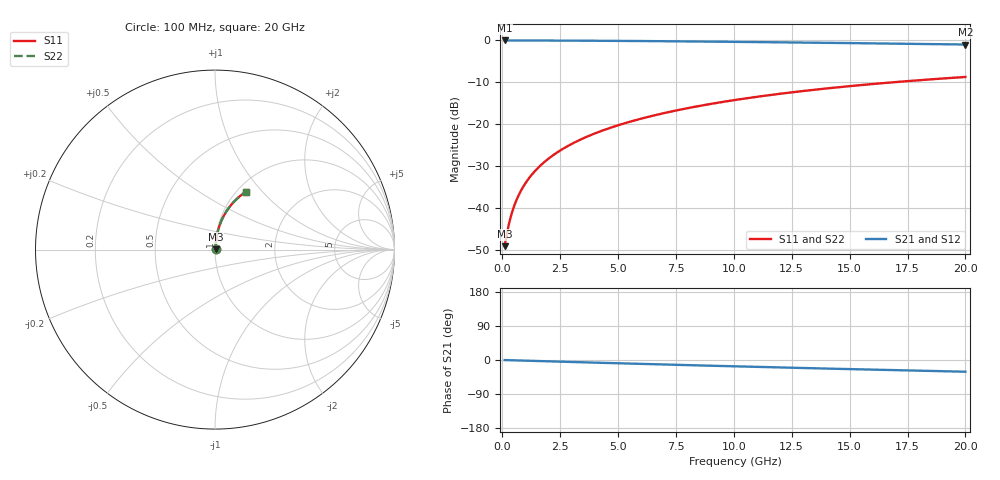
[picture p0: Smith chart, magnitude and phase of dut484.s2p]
! Touchstone file exported from HFSS 2024.1.0
!  File:  C:/UserFiles/LocalFiles/RDL_TSV_Batchsim/temp_RDL_top_484_1779678449.aedt
!  Generated:  11:09:43 AM May 25, 2026
!  Design:  RDL_top
!  Project:  temp_RDL_top_484_1779678449
!  Setup:  Setup1
!  Solution:  Sweep
! Variables:
!  dtsv = 10.80580581um
!  hbump = 3um
!  htsv = 82.71um
!  ldown = 100um
!  lrdl = 369.86um
!  p = 40
!  p1 = 50.29um
!  rhole = 1um
!  t = 450um
!  tdown = 3.915915916um
!  trdl = 3.46um
!  wdown = 15.38538539um
!  wrdl = 13.6um
# GHz S MA R 50.000000
! Terminal data exported
! Port[1] = Box2_T1
! Port[2] = Box2_T2
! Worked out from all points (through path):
!   200 points, 100 MHz to 20 GHz, reference 50 ohm
!   highest |S21| = -0.03 dB at 100 MHz (marker M1); lowest = -1.0 dB at 20 GHz (marker M2)
!   group delay of S21, straight-line fit = 4.29 ps
!   lowest |S11| = -49.0 dB at 100 MHz (marker M3), VSWR 1.01, Z = 50.3 + j0.204 ohm
!   |S11| at or under -10 dB: start of sweep to 16.84 GHz
!   |S22| runs from -49.0 to -8.7 dB; largest |S21 - S12| = 3.6e-15
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0.1  0.00355 34.8  0.9971 -0.2  0.9971 -0.2  0.00355 34.8
! Gamma 0 0 0 0
! Port Impedance 50 0 50 0
0.2  0.005015 53.7  0.997 -0.4  0.997 -0.4  0.005015 53.7
0.3  0.006757 63.2  0.9969 -0.5  0.9969 -0.5  0.006757 63.2
0.4  0.00859 68.6  0.9968 -0.7  0.9968 -0.7  0.00859 68.6
0.5  0.01046 72.0  0.9967 -0.9  0.9967 -0.9  0.01046 72.0
0.6  0.01234 74.3  0.9966 -1.1  0.9966 -1.1  0.01234 74.3
0.8  0.01612 77.4  0.9964 -1.4  0.9964 -1.4  0.01612 77.4
1.1  0.02184 79.9  0.9961 -1.9  0.9961 -1.9  0.02184 79.9
1.5  0.02952 81.6  0.9956 -2.6  0.9956 -2.6  0.02952 81.6
1.8  0.03531 82.3  0.9951 -3.2  0.9951 -3.2  0.03531 82.3
2.1  0.04111 82.6  0.9945 -3.7  0.9945 -3.7  0.04111 82.6
2.7  0.05274 82.9  0.9932 -4.7  0.9932 -4.7  0.05274 82.9
3.5  0.0683 82.7  0.991 -6.1  0.991 -6.1  0.0683 82.7
4.2  0.08193 82.2  0.9886 -7.3  0.9886 -7.3  0.08194 82.3
5  0.09754 81.6  0.9856 -8.6  0.9856 -8.6  0.09754 81.6
5.9  0.1151 80.6  0.9817 -10.1  0.9817 -10.1  0.1151 80.6
6.8  0.1326 79.6  0.9775 -11.6  0.9775 -11.6  0.1326 79.6
8.3  0.1616 77.7  0.9697 -14.0  0.9697 -14.0  0.1616 77.7
10.1  0.196 75.3  0.9593 -16.8  0.9593 -16.8  0.196 75.3
13.4  0.2569 70.8  0.9385 -21.7  0.9385 -21.7  0.2569 70.8
16.7  0.314 66.2  0.9158 -26.4  0.9158 -26.4  0.314 66.2
20  0.3667 61.7  0.892 -30.9  0.892 -30.9  0.3667 61.7
